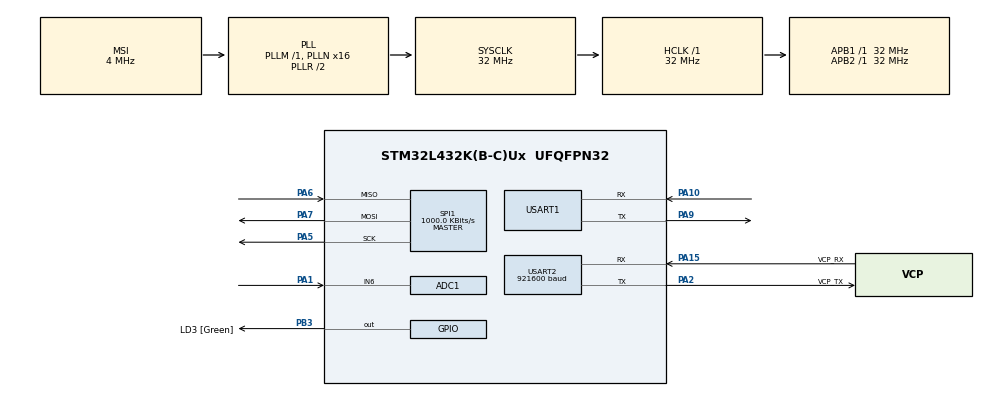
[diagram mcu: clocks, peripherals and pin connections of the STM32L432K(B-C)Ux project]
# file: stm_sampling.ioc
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ADC1.Channel-1\#ChannelRegularConversion=ADC_CHANNEL_6
ADC1.ExternalTrigConv=ADC_EXTERNALTRIG_T1_TRGO
ADC1.NbrOfConversionFlag=1
ADC1.OffsetNumber-1\#ChannelRegularConversion=ADC_OFFSET_NONE
ADC1.Rank-1\#ChannelRegularConversion=1
ADC1.Resolution=ADC_RESOLUTION_10B
ADC1.SamplingTime-1\#ChannelRegularConversion=ADC_SAMPLETIME_2CYCLES_5
ADC1.master=1
Mcu.Family=STM32L4
Mcu.Name=STM32L432K(B-C)Ux
Mcu.Package=UFQFPN32
NVIC.ADC1_IRQn=true\:0\:0\:false\:false\:true\:true\:true\:true
NVIC.PriorityGroup=NVIC_PRIORITYGROUP_4
PA0.GPIO_Label=MCO [High speed clock in]
PA0.Mode=HSE-External-Clock-Source-for-LittleOrca
PA0.Signal=RCC_CK_IN
PA1.Signal=ADCx_IN6
PA10.Mode=Asynchronous
PA10.Signal=USART1_RX
PA13\ (JTMS-SWDIO).GPIO_Label=SWDIO
PA13\ (JTMS-SWDIO).Mode=Serial_Wire
PA13\ (JTMS-SWDIO).Signal=SYS_JTMS-SWDIO
PA14\ (JTCK-SWCLK).GPIO_Label=SWCLK
PA14\ (JTCK-SWCLK).Mode=Serial_Wire
PA14\ (JTCK-SWCLK).Signal=SYS_JTCK-SWCLK
PA15\ (JTDI).GPIO_Label=VCP_RX
PA15\ (JTDI).Mode=Asynchronous
PA15\ (JTDI).Signal=USART2_RX
PA2.GPIO_Label=VCP_TX
PA2.Mode=Asynchronous
PA2.Signal=USART2_TX
PA5.Mode=Full_Duplex_Master
PA5.Signal=SPI1_SCK
PA6.Mode=Full_Duplex_Master
PA6.Signal=SPI1_MISO
PA7.Mode=Full_Duplex_Master
PA7.Signal=SPI1_MOSI
PA9.Mode=Asynchronous
PA9.Signal=USART1_TX
PB3\ (JTDO-TRACESWO).GPIO_Label=LD3 [Green]
PB3\ (JTDO-TRACESWO).Signal=GPIO_Output
PC14-OSC32_IN\ (PC14).Mode=LSE-External-Oscillator
PC14-OSC32_IN\ (PC14).Signal=RCC_OSC32_IN
PC15-OSC32_OUT\ (PC15).Mode=LSE-External-Oscillator
PC15-OSC32_OUT\ (PC15).Signal=RCC_OSC32_OUT
ProjectManager.HeapSize=0x200
ProjectManager.StackSize=0x400
ProjectManager.TargetToolchain=STM32CubeIDE
RCC.ADCFreq_Value=32000000
RCC.AHBFreq_Value=32000000
RCC.APB1Freq_Value=32000000
RCC.APB1TimFreq_Value=32000000
RCC.APB2Freq_Value=32000000
RCC.APB2TimFreq_Value=32000000
RCC.CortexFreq_Value=32000000
RCC.HCLKFreq_Value=32000000
RCC.HSE_VALUE=8000000
RCC.HSI16_VALUE=16000000
RCC.HSI48_VALUE=48000000
RCC.HSI_VALUE=16000000
RCC.MSI_VALUE=4000000
RCC.PLLMUL=RCC_PLLMUL_4
RCC.PLLN=16
RCC.PLLSAI1N=16
RCC.SYSCLKFreq_VALUE=32000000
RCC.SYSCLKSource=RCC_SYSCLKSOURCE_PLLCLK
RCC.USBFreq_Value=32000000
RCC.VCOOutputFreq_Value=64000000
SH.ADCx_IN6.0=ADC1_IN6,IN6-Single-Ended
SPI1.BaudRatePrescaler=SPI_BAUDRATEPRESCALER_32
SPI1.CalculateBaudRate=1000.0 KBits/s
SPI1.DataSize=SPI_DATASIZE_16BIT
SPI1.Direction=SPI_DIRECTION_2LINES
SPI1.Mode=SPI_MODE_MASTER
SPI1.VirtualType=VM_MASTER
TIM1.Period=725
TIM1.Prescaler=0
TIM1.TIM_MasterOutputTrigger=TIM_TRGO_UPDATE
USART1.VirtualMode-Asynchronous=VM_ASYNC
USART2.BaudRate=921600
USART2.VirtualMode-Asynchronous=VM_ASYNC
VP_TIM1_VS_ClockSourceINT.Mode=Internal
board=NUCLEO-L432KC

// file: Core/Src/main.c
/* USER CODE BEGIN Header */
/**
  ******************************************************************************
  * @file           : main.c
  * @brief          : Main program body
  ******************************************************************************
  * @attention
  *
  * Copyright (c) 2026 STMicroelectronics.
  * All rights reserved.
  *
  * This software is licensed under terms that can be found in the LICENSE file
  * in the root directory of this software component.
  * If no LICENSE file comes with this software, it is provided AS-IS.
  *
  ******************************************************************************
  */
/* USER CODE END Header */
#include "main.h"

ADC_HandleTypeDef hadc1;

SPI_HandleTypeDef hspi1;

TIM_HandleTypeDef htim1;

UART_HandleTypeDef huart1;
UART_HandleTypeDef huart2;

/* USER CODE BEGIN PV */

#define DEBUG_GPIO_WIRE_TEST 0
#define DEBUG_SPI_SOURCE_TEST 0

/* USER CODE END PV */

void SystemClock_Config(void);
static void MX_GPIO_Init(void);
static void MX_USART2_UART_Init(void);
static void MX_ADC1_Init(void);
static void MX_TIM1_Init(void);
static void MX_USART1_UART_Init(void);
static void MX_SPI1_Init(void);

int main(void)
{

  /* MCU Configuration--------------------------------------------------------*/

  /* Reset of all peripherals, Initializes the Flash interface and the Systick. */
  HAL_Init();

  /* Configure the system clock */
  SystemClock_Config();

  /* Initialize all configured peripherals */
  MX_GPIO_Init();
  MX_USART2_UART_Init();
  MX_ADC1_Init();
  MX_TIM1_Init();
  MX_USART1_UART_Init();
  MX_SPI1_Init();
  /* USER CODE BEGIN 2 */

#if DEBUG_GPIO_WIRE_TEST
  GPIO_InitTypeDef GPIO_InitStruct = {0};

  GPIO_InitStruct.Pin = GPIO_PIN_5|GPIO_PIN_7;
  GPIO_InitStruct.Mode = GPIO_MODE_OUTPUT_PP;
  GPIO_InitStruct.Pull = GPIO_NOPULL;
  GPIO_InitStruct.Speed = GPIO_SPEED_FREQ_LOW;
  HAL_GPIO_Init(GPIOA, &GPIO_InitStruct);

  HAL_GPIO_WritePin(GPIOA, GPIO_PIN_5, GPIO_PIN_RESET);
  HAL_GPIO_WritePin(GPIOA, GPIO_PIN_7, GPIO_PIN_SET);
  HAL_GPIO_WritePin(LD3_GPIO_Port, LD3_Pin, GPIO_PIN_SET);
#elif DEBUG_SPI_SOURCE_TEST
  HAL_GPIO_WritePin(LD3_GPIO_Port, LD3_Pin, GPIO_PIN_SET);
#else
  HAL_TIM_Base_Start(&htim1);   // timer starts first
  HAL_ADC_Start_IT(&hadc1);     // then the ADC
#endif

  /* USER CODE END 2 */

  /* Infinite loop */
  while (1)
  {

    /* USER CODE BEGIN 3 */
#if DEBUG_GPIO_WIRE_TEST
	  HAL_GPIO_WritePin(GPIOA, GPIO_PIN_5, GPIO_PIN_SET);
	  HAL_GPIO_WritePin(GPIOA, GPIO_PIN_7, GPIO_PIN_RESET);
	  HAL_GPIO_TogglePin(LD3_GPIO_Port, LD3_Pin);
	  HAL_Delay(500);

	  HAL_GPIO_WritePin(GPIOA, GPIO_PIN_5, GPIO_PIN_RESET);
	  HAL_GPIO_WritePin(GPIOA, GPIO_PIN_7, GPIO_PIN_SET);
	  HAL_GPIO_TogglePin(LD3_GPIO_Port, LD3_Pin);
	  HAL_Delay(500);
#elif DEBUG_SPI_SOURCE_TEST
	  static uint16_t test_sample = 0;
	  static uint16_t blink_divider = 0;

	  HAL_SPI_Transmit(&hspi1, (uint8_t*)&test_sample, 1, 100);
	  test_sample = (test_sample + 16) & 0x03FF;

	  if (++blink_divider >= 500)
	  {
		  HAL_GPIO_TogglePin(LD3_GPIO_Port, LD3_Pin);
		  blink_divider = 0;
	  }

	  HAL_Delay(1);
#endif
  }
  /* USER CODE END 3 */
}

void SystemClock_Config(void)
{
  RCC_OscInitTypeDef RCC_OscInitStruct = {0};
  RCC_ClkInitTypeDef RCC_ClkInitStruct = {0};

  /** Configure the main internal regulator output voltage
  */
  if (HAL_PWREx_ControlVoltageScaling(PWR_REGULATOR_VOLTAGE_SCALE1) != HAL_OK)
  {
    Error_Handler();
  }

  /** Configure LSE Drive Capability
  */
  HAL_PWR_EnableBkUpAccess();
  __HAL_RCC_LSEDRIVE_CONFIG(RCC_LSEDRIVE_LOW);

  /** Initializes the RCC Oscillators according to the specified parameters
  * in the RCC_OscInitTypeDef structure.
  */
  RCC_OscInitStruct.OscillatorType = RCC_OSCILLATORTYPE_LSE|RCC_OSCILLATORTYPE_MSI;
  RCC_OscInitStruct.LSEState = RCC_LSE_ON;
  RCC_OscInitStruct.MSIState = RCC_MSI_ON;
  RCC_OscInitStruct.MSICalibrationValue = 0;
  RCC_OscInitStruct.MSIClockRange = RCC_MSIRANGE_6;
  RCC_OscInitStruct.PLL.PLLState = RCC_PLL_ON;
  RCC_OscInitStruct.PLL.PLLSource = RCC_PLLSOURCE_MSI;
  RCC_OscInitStruct.PLL.PLLM = 1;
  RCC_OscInitStruct.PLL.PLLN = 16;
  RCC_OscInitStruct.PLL.PLLP = RCC_PLLP_DIV7;
  RCC_OscInitStruct.PLL.PLLQ = RCC_PLLQ_DIV2;
  RCC_OscInitStruct.PLL.PLLR = RCC_PLLR_DIV2;
  if (HAL_RCC_OscConfig(&RCC_OscInitStruct) != HAL_OK)
  {
    Error_Handler();
  }

  /** Initializes the CPU, AHB and APB buses clocks
  */
  RCC_ClkInitStruct.ClockType = RCC_CLOCKTYPE_HCLK|RCC_CLOCKTYPE_SYSCLK
                              |RCC_CLOCKTYPE_PCLK1|RCC_CLOCKTYPE_PCLK2;
  RCC_ClkInitStruct.SYSCLKSource = RCC_SYSCLKSOURCE_PLLCLK;
  RCC_ClkInitStruct.AHBCLKDivider = RCC_SYSCLK_DIV1;
  RCC_ClkInitStruct.APB1CLKDivider = RCC_HCLK_DIV1;
  RCC_ClkInitStruct.APB2CLKDivider = RCC_HCLK_DIV1;

  if (HAL_RCC_ClockConfig(&RCC_ClkInitStruct, FLASH_LATENCY_1) != HAL_OK)
  {
    Error_Handler();
  }

  /** Enable MSI Auto calibration
  */
  HAL_RCCEx_EnableMSIPLLMode();
}

static void MX_ADC1_Init(void)
{

  ADC_ChannelConfTypeDef sConfig = {0};

  /** Common config
  */
  hadc1.Instance = ADC1;
  hadc1.Init.ClockPrescaler = ADC_CLOCK_ASYNC_DIV1;
  hadc1.Init.Resolution = ADC_RESOLUTION_12B;
  hadc1.Init.DataAlign = ADC_DATAALIGN_RIGHT;
  hadc1.Init.ScanConvMode = ADC_SCAN_DISABLE;
  hadc1.Init.EOCSelection = ADC_EOC_SINGLE_CONV;
  hadc1.Init.LowPowerAutoWait = DISABLE;
  hadc1.Init.ContinuousConvMode = DISABLE;
  hadc1.Init.NbrOfConversion = 1;
  hadc1.Init.DiscontinuousConvMode = DISABLE;
  hadc1.Init.ExternalTrigConv = ADC_EXTERNALTRIG_T1_TRGO;
  hadc1.Init.ExternalTrigConvEdge = ADC_EXTERNALTRIGCONVEDGE_RISING;
  hadc1.Init.DMAContinuousRequests = DISABLE;
  hadc1.Init.Overrun = ADC_OVR_DATA_PRESERVED;
  hadc1.Init.OversamplingMode = DISABLE;
  if (HAL_ADC_Init(&hadc1) != HAL_OK)
  {
    Error_Handler();
  }

  /** Configure Regular Channel
  */
  sConfig.Channel = ADC_CHANNEL_6;
  sConfig.Rank = ADC_REGULAR_RANK_1;
  sConfig.SamplingTime = ADC_SAMPLETIME_2CYCLES_5;
  sConfig.SingleDiff = ADC_SINGLE_ENDED;
  sConfig.OffsetNumber = ADC_OFFSET_NONE;
  sConfig.Offset = 0;
  if (HAL_ADC_ConfigChannel(&hadc1, &sConfig) != HAL_OK)
  {
    Error_Handler();
  }

}

static void MX_SPI1_Init(void)
{

  /* SPI1 parameter configuration*/
  hspi1.Instance = SPI1;
  hspi1.Init.Mode = SPI_MODE_MASTER;
  hspi1.Init.Direction = SPI_DIRECTION_2LINES;
  hspi1.Init.DataSize = SPI_DATASIZE_16BIT;
  hspi1.Init.CLKPolarity = SPI_POLARITY_LOW;
  hspi1.Init.CLKPhase = SPI_PHASE_1EDGE;
  hspi1.Init.NSS = SPI_NSS_SOFT;
  hspi1.Init.BaudRatePrescaler = SPI_BAUDRATEPRESCALER_32;
  hspi1.Init.FirstBit = SPI_FIRSTBIT_MSB;
  hspi1.Init.TIMode = SPI_TIMODE_DISABLE;
  hspi1.Init.CRCCalculation = SPI_CRCCALCULATION_DISABLE;
  hspi1.Init.CRCPolynomial = 7;
  hspi1.Init.CRCLength = SPI_CRC_LENGTH_DATASIZE;
  hspi1.Init.NSSPMode = SPI_NSS_PULSE_ENABLE;
  if (HAL_SPI_Init(&hspi1) != HAL_OK)
  {
    Error_Handler();
  }

}

static void MX_TIM1_Init(void)
{

  TIM_ClockConfigTypeDef sClockSourceConfig = {0};
  TIM_MasterConfigTypeDef sMasterConfig = {0};

  htim1.Instance = TIM1;
  htim1.Init.Prescaler = 0;
  htim1.Init.CounterMode = TIM_COUNTERMODE_UP;
  htim1.Init.Period = 725;
  htim1.Init.ClockDivision = TIM_CLOCKDIVISION_DIV1;
  htim1.Init.RepetitionCounter = 0;
  htim1.Init.AutoReloadPreload = TIM_AUTORELOAD_PRELOAD_DISABLE;
  if (HAL_TIM_Base_Init(&htim1) != HAL_OK)
  {
    Error_Handler();
  }
  sClockSourceConfig.ClockSource = TIM_CLOCKSOURCE_INTERNAL;
  if (HAL_TIM_ConfigClockSource(&htim1, &sClockSourceConfig) != HAL_OK)
  {
    Error_Handler();
  }
  sMasterConfig.MasterOutputTrigger = TIM_TRGO_UPDATE;
  sMasterConfig.MasterOutputTrigger2 = TIM_TRGO2_RESET;
  sMasterConfig.MasterSlaveMode = TIM_MASTERSLAVEMODE_DISABLE;
  if (HAL_TIMEx_MasterConfigSynchronization(&htim1, &sMasterConfig) != HAL_OK)
  {
    Error_Handler();
  }

}

static void MX_USART1_UART_Init(void)
{

  huart1.Instance = USART1;
  huart1.Init.BaudRate = 115200;
  huart1.Init.WordLength = UART_WORDLENGTH_8B;
  huart1.Init.StopBits = UART_STOPBITS_1;
  huart1.Init.Parity = UART_PARITY_NONE;
  huart1.Init.Mode = UART_MODE_TX_RX;
  huart1.Init.HwFlowCtl = UART_HWCONTROL_NONE;
  huart1.Init.OverSampling = UART_OVERSAMPLING_16;
  huart1.Init.OneBitSampling = UART_ONE_BIT_SAMPLE_DISABLE;
  huart1.AdvancedInit.AdvFeatureInit = UART_ADVFEATURE_NO_INIT;
  if (HAL_UART_Init(&huart1) != HAL_OK)
  {
    Error_Handler();
  }

}

static void MX_USART2_UART_Init(void)
{

  huart2.Instance = USART2;
  huart2.Init.BaudRate = 921600;
  huart2.Init.WordLength = UART_WORDLENGTH_8B;
  huart2.Init.StopBits = UART_STOPBITS_1;
  huart2.Init.Parity = UART_PARITY_NONE;
  huart2.Init.Mode = UART_MODE_TX_RX;
  huart2.Init.HwFlowCtl = UART_HWCONTROL_NONE;
  huart2.Init.OverSampling = UART_OVERSAMPLING_16;
  huart2.Init.OneBitSampling = UART_ONE_BIT_SAMPLE_DISABLE;
  huart2.AdvancedInit.AdvFeatureInit = UART_ADVFEATURE_NO_INIT;
  if (HAL_UART_Init(&huart2) != HAL_OK)
  {
    Error_Handler();
  }

}

static void MX_GPIO_Init(void)
{
  GPIO_InitTypeDef GPIO_InitStruct = {0};

  /* GPIO Ports Clock Enable */
  __HAL_RCC_GPIOC_CLK_ENABLE();
  __HAL_RCC_GPIOA_CLK_ENABLE();
  __HAL_RCC_GPIOB_CLK_ENABLE();

  /*Configure GPIO pin Output Level */
  HAL_GPIO_WritePin(LD3_GPIO_Port, LD3_Pin, GPIO_PIN_RESET);

  /*Configure GPIO pin : LD3_Pin */
  GPIO_InitStruct.Pin = LD3_Pin;
  GPIO_InitStruct.Mode = GPIO_MODE_OUTPUT_PP;
  GPIO_InitStruct.Pull = GPIO_NOPULL;
  GPIO_InitStruct.Speed = GPIO_SPEED_FREQ_LOW;
  HAL_GPIO_Init(LD3_GPIO_Port, &GPIO_InitStruct);

}

/* USER CODE BEGIN 4 */

void HAL_ADC_ConvCpltCallback(ADC_HandleTypeDef *hadc)
{
    if (hadc->Instance == ADC1)
    {
    	// REVIEW
        // HAL_ADC_GetValue returns 0-4095 for 12-bit mode
        uint16_t sample = (uint16_t)HAL_ADC_GetValue(hadc);

        // For SPI transmit we see blocking is fine at 1Mbps for 44.1ksps and that the sample fits in 16-bit SPI frame
        HAL_SPI_Transmit(&hspi1, (uint8_t*)&sample, 1, HAL_MAX_DELAY);
    }
}

/* USER CODE END 4 */

void Error_Handler(void)
{
  __disable_irq();
  while (1)
  {
  }
}
